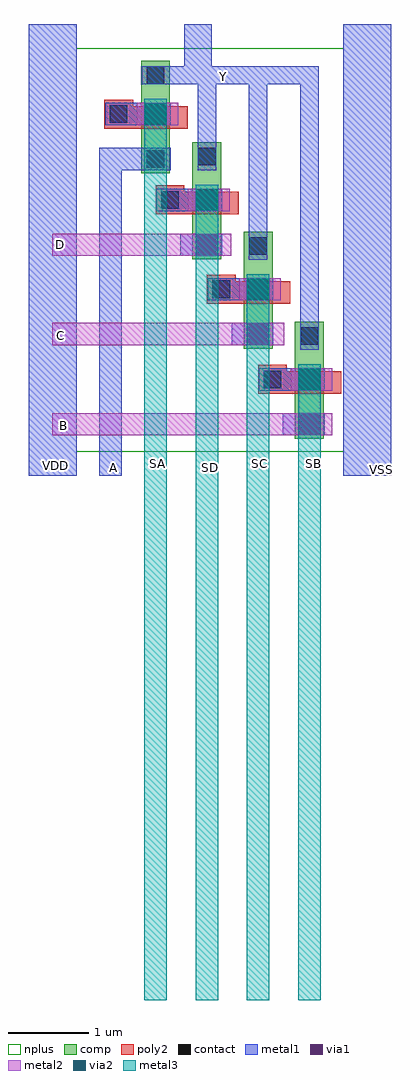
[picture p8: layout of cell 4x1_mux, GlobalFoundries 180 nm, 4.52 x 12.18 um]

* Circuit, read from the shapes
.subckt 4x1_mux A B C D SA SB SC SD VDD VSS Y
XM1 Y SA A VSUBS nfet_03v3 w=0.36u l=0.28u
XM2 Y SD D VSUBS nfet_03v3 w=0.36u l=0.28u
XM3 Y SC C VSUBS nfet_03v3 w=0.36u l=0.28u
XM4 Y SB B VSUBS nfet_03v3 w=0.36u l=0.28u
.ends

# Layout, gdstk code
import gdstk
lib = gdstk.Library(unit=1e-6, precision=5e-09)
def R(c, l, rs):  # rectangles x0, y0, x1, y1
    for r in rs: c.add(gdstk.rectangle(r[:2], r[2:], *l))
def P(c, l, *ps):  # polygons
    for p in ps: c.add(gdstk.Polygon(p, *l))
comp = (22, 0)
poly2 = (30, 0)
nplus = (32, 0)
contact = (33, 0)
metal1 = (34, 0)
via1 = (35, 0)
metal2 = (36, 0)
via2 = (38, 0)
metal3 = (42, 0)

c_4x1_mux = lib.new_cell('4x1_mux')
R(c_4x1_mux, comp, [(0.965,-9.25,1.325,-7.79), (0.325,-8.125,0.685,-6.665), (-0.315,-7.01,0.045,-5.55), (-0.955,-5.94,-0.595,-4.535)])
R(c_4x1_mux, poly2, [(0.505,-8.69,0.865,-8.33), (0.865,-8.69,1.545,-8.41), (-0.135,-7.565,0.225,-7.205), (0.225,-7.565,0.905,-7.285), (-0.775,-6.45,-0.415,-6.09), (-0.415,-6.45,0.265,-6.17), (-1.415,-5.38,-1.055,-5.02), (-1.055,-5.38,-0.375,-5.1)])
R(c_4x1_mux, nplus, [(-1.765,-9.41,1.575,-4.375)])
R(c_4x1_mux, contact, [(1.035,-9.18,1.255,-8.96), (0.575,-8.62,0.795,-8.4), (1.035,-8.08,1.255,-7.86), (0.395,-8.055,0.615,-7.835), (-0.065,-7.495,0.155,-7.275), (0.395,-6.955,0.615,-6.735), (-0.245,-6.94,-0.025,-6.72), (-0.705,-6.38,-0.485,-6.16), (-0.885,-5.87,-0.665,-5.65), (-0.245,-5.84,-0.025,-5.62), (-1.345,-5.31,-1.125,-5.09), (-0.885,-4.825,-0.665,-4.605)])
R(c_4x1_mux, metal1, [(-2.355,-9.71,-1.755,-4.075), (-1.475,-9.71,-1.195,-5.9), (1.565,-9.71,2.165,-4.075), (0.815,-9.21,1.335,-8.93), (0.515,-8.65,1.335,-8.37), (1.03,-8.14,1.26,-4.83), (0.175,-8.085,0.695,-7.805), (-0.125,-7.525,0.695,-7.245), (0.39,-7.015,0.62,-4.83), (-0.465,-6.97,0.055,-6.69), (-0.765,-6.41,0.055,-6.13), (-1.475,-5.9,-0.585,-5.62), (-0.25,-5.9,-0.02,-4.83), (-1.405,-5.34,-0.585,-5.06), (-0.945,-4.83,1.26,-4.6), (-0.415,-4.6,-0.075,-4.075)])
R(c_4x1_mux, via1, [(1.015,-9.2,1.275,-8.94), (1.015,-8.64,1.275,-8.38), (0.375,-8.075,0.635,-7.815), (0.375,-7.515,0.635,-7.255), (-0.265,-6.96,-0.005,-6.7), (-0.265,-6.4,-0.005,-6.14), (-0.905,-5.33,-0.645,-5.07)])
R(c_4x1_mux, metal2, [(-2.065,-9.21,1.43,-8.93), (0.91,-8.65,1.43,-8.37), (-2.065,-8.085,0.83,-7.805), (0.27,-7.525,0.79,-7.245), (-2.065,-6.97,0.17,-6.69), (-0.37,-6.41,0.15,-6.13), (-1.01,-5.34,-0.49,-5.06)])
R(c_4x1_mux, via2, [(1.015,-8.64,1.275,-8.38), (0.375,-7.515,0.635,-7.255), (-0.265,-6.4,-0.005,-6.14), (-0.905,-5.33,-0.645,-5.07)])
R(c_4x1_mux, metal3, [(-0.915,-16.255,-0.635,-5.01), (-0.275,-16.255,0.005,-6.08), (0.365,-16.255,0.645,-7.195)])
P(c_4x1_mux, metal3, [(1.005,-16.255),(1.005,-8.32),(1.285,-8.32),(1.285,-14.64),(1.285,-16.255)])
c_4x1_mux.add(gdstk.Label('SA', (-0.75,-9.56), layer=42, texttype=10))
c_4x1_mux.add(gdstk.Label('SD', (-0.095,-9.61), layer=42, texttype=10))
c_4x1_mux.add(gdstk.Label('SC', (0.52,-9.56), layer=42, texttype=10))
c_4x1_mux.add(gdstk.Label('SB', (1.195,-9.56), layer=42, texttype=10))
c_4x1_mux.add(gdstk.Label('VDD', (-2.02,-9.58), layer=34, texttype=10))
c_4x1_mux.add(gdstk.Label('VSS', (2.04,-9.63), layer=34, texttype=10))
c_4x1_mux.add(gdstk.Label('A', (-1.3,-9.615), layer=34, texttype=10))
c_4x1_mux.add(gdstk.Label('Y', (0.075,-4.725), layer=34, texttype=10))
c_4x1_mux.add(gdstk.Label('B', (-1.92,-9.085), layer=36, texttype=10))
c_4x1_mux.add(gdstk.Label('C', (-1.955,-7.965), layer=36, texttype=10))
c_4x1_mux.add(gdstk.Label('D', (-1.96,-6.825), layer=36, texttype=10))

lib.write_gds('4x1_mux.gds')
